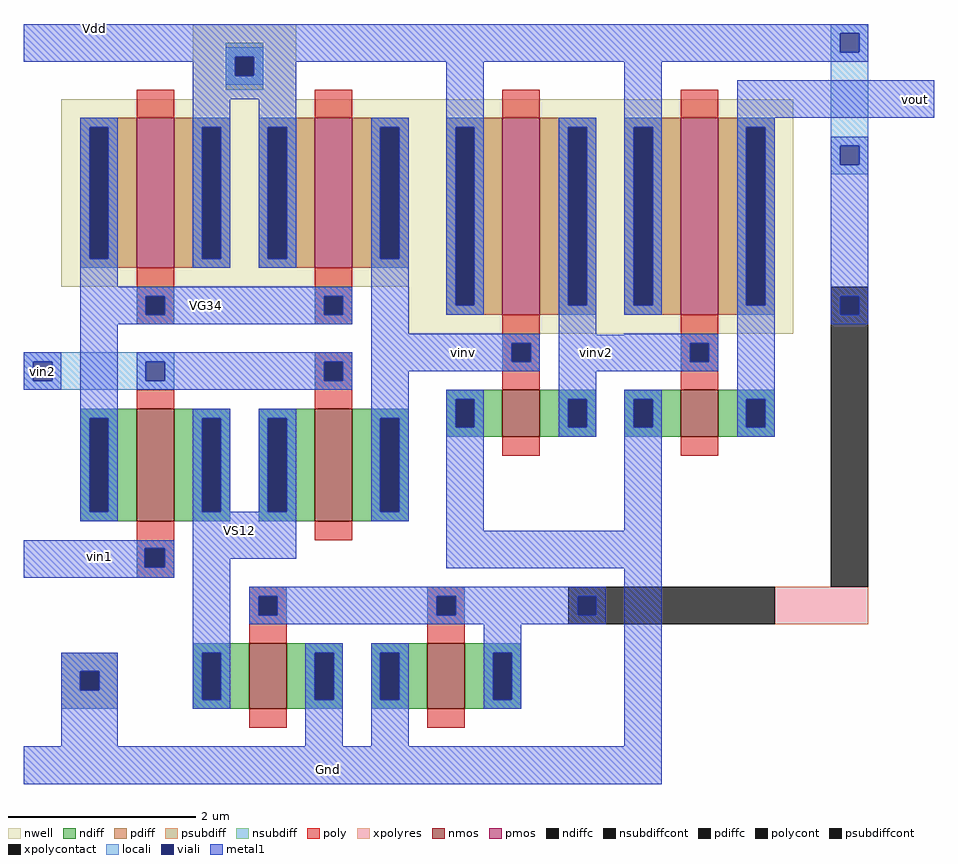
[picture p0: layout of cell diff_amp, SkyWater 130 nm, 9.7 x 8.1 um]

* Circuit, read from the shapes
.subckt diff_amp Gnd VG34 VS12 Vdd vin1 vin2 vinv vinv2 vout
XM1 VS12 vin1 VG34 Gnd sky130_fd_pr__nfet_01v8 w=1.2 l=0.4
XM2 Gnd n1 VS12 Gnd sky130_fd_pr__nfet_01v8 w=0.7 l=0.4
XM3 vinv vin2 VS12 Gnd sky130_fd_pr__nfet_01v8 w=1.2 l=0.4
XM4 n1 n1 Gnd Gnd sky130_fd_pr__nfet_01v8 w=0.7 l=0.4
XM5 vinv2 vinv Gnd Gnd sky130_fd_pr__nfet_01v8 w=0.5 l=0.4
XM6 vout vinv2 Gnd Gnd sky130_fd_pr__nfet_01v8 w=0.5 l=0.4
XM7 Vdd VG34 VG34 Vdd sky130_fd_pr__pfet_01v8 w=1.6 l=0.4
XM8 vinv VG34 Vdd Vdd sky130_fd_pr__pfet_01v8 w=1.6 l=0.4
XM9 vinv2 vinv Vdd Vdd sky130_fd_pr__pfet_01v8 w=2.1 l=0.4
XM10 vout vinv2 Vdd Vdd sky130_fd_pr__pfet_01v8 w=2.1 l=0.4
XR11 n1 Vdd Gnd sky130_fd_pr__res_xhigh_po w=0.4 l=1
.ends

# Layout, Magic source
magic
tech sky130A
<< nwell >>
rect 40 230 150 310
rect -100 30 680 230
rect 270 -20 680 30
<< nmos >>
rect -20 -220 20 -100
rect 170 -220 210 -100
rect 370 -130 410 -80
rect 560 -130 600 -80
rect 100 -420 140 -350
rect 290 -420 330 -350
<< pmos >>
rect -20 50 20 210
rect 170 50 210 210
rect 370 0 410 210
rect 560 0 600 210
<< ndiff >>
rect 310 -90 370 -80
rect -80 -110 -20 -100
rect -80 -210 -70 -110
rect -50 -210 -20 -110
rect -80 -220 -20 -210
rect 20 -110 80 -100
rect 20 -210 50 -110
rect 70 -210 80 -110
rect 20 -220 80 -210
rect 110 -110 170 -100
rect 110 -210 120 -110
rect 140 -210 170 -110
rect 110 -220 170 -210
rect 210 -110 270 -100
rect 210 -210 240 -110
rect 260 -210 270 -110
rect 310 -120 320 -90
rect 340 -120 370 -90
rect 310 -130 370 -120
rect 410 -90 470 -80
rect 410 -120 440 -90
rect 460 -120 470 -90
rect 410 -130 470 -120
rect 500 -90 560 -80
rect 500 -120 510 -90
rect 530 -120 560 -90
rect 500 -130 560 -120
rect 600 -90 660 -80
rect 600 -120 630 -90
rect 650 -120 660 -90
rect 600 -130 660 -120
rect 210 -220 270 -210
rect 40 -360 100 -350
rect 40 -410 50 -360
rect 70 -410 100 -360
rect 40 -420 100 -410
rect 140 -360 200 -350
rect 140 -410 170 -360
rect 190 -410 200 -360
rect 140 -420 200 -410
rect 230 -360 290 -350
rect 230 -410 240 -360
rect 260 -410 290 -360
rect 230 -420 290 -410
rect 330 -360 390 -350
rect 330 -410 360 -360
rect 380 -410 390 -360
rect 330 -420 390 -410
<< pdiff >>
rect -80 200 -20 210
rect -80 60 -70 200
rect -50 60 -20 200
rect -80 50 -20 60
rect 20 200 80 210
rect 20 60 50 200
rect 70 60 80 200
rect 20 50 80 60
rect 110 200 170 210
rect 110 60 120 200
rect 140 60 170 200
rect 110 50 170 60
rect 210 200 270 210
rect 210 60 240 200
rect 260 60 270 200
rect 210 50 270 60
rect 310 200 370 210
rect 310 10 320 200
rect 340 10 370 200
rect 310 0 370 10
rect 410 200 470 210
rect 410 10 440 200
rect 460 10 470 200
rect 410 0 470 10
rect 500 200 560 210
rect 500 10 510 200
rect 530 10 560 200
rect 500 0 560 10
rect 600 200 660 210
rect 600 10 630 200
rect 650 10 660 200
rect 600 0 660 10
<< ndiffc >>
rect -70 -210 -50 -110
rect 50 -210 70 -110
rect 120 -210 140 -110
rect 240 -210 260 -110
rect 320 -120 340 -90
rect 440 -120 460 -90
rect 510 -120 530 -90
rect 630 -120 650 -90
rect 50 -410 70 -360
rect 170 -410 190 -360
rect 240 -410 260 -360
rect 360 -410 380 -360
<< pdiffc >>
rect -70 60 -50 200
rect 50 60 70 200
rect 120 60 140 200
rect 240 60 260 200
rect 320 10 340 200
rect 440 10 460 200
rect 510 10 530 200
rect 630 10 650 200
<< psubdiff >>
rect -100 -380 -40 -360
rect -100 -400 -80 -380
rect -60 -400 -40 -380
rect -100 -420 -40 -400
<< nsubdiff >>
rect 75 275 115 290
rect 75 255 85 275
rect 105 255 115 275
rect 75 240 115 255
<< psubdiffcont >>
rect -80 -400 -60 -380
<< nsubdiffcont >>
rect 85 255 105 275
<< poly >>
rect -20 210 20 240
rect 170 210 210 240
rect 370 210 410 240
rect 560 210 600 240
rect -20 20 20 50
rect -20 0 -10 20
rect 10 0 20 20
rect -20 -10 20 0
rect 170 20 210 50
rect 170 0 180 20
rect 200 0 210 20
rect 170 -10 210 0
rect 370 -30 410 0
rect 170 -50 210 -40
rect 170 -70 180 -50
rect 200 -70 210 -50
rect -20 -100 20 -80
rect 170 -100 210 -70
rect 370 -50 380 -30
rect 400 -50 410 -30
rect 370 -80 410 -50
rect 560 -30 600 0
rect 560 -50 570 -30
rect 590 -50 600 -30
rect 560 -80 600 -50
rect 370 -150 410 -130
rect 560 -150 600 -130
rect -20 -249 20 -220
rect 170 -240 210 -220
rect -20 -269 -11 -249
rect 10 -269 20 -249
rect -20 -280 20 -269
rect 100 -300 140 -290
rect 100 -320 110 -300
rect 130 -320 140 -300
rect 100 -350 140 -320
rect 290 -300 330 -290
rect 290 -320 300 -300
rect 320 -320 330 -300
rect 290 -350 330 -320
rect 100 -440 140 -420
rect 290 -440 330 -420
<< polycont >>
rect -10 0 10 20
rect 180 0 200 20
rect 180 -70 200 -50
rect 380 -50 400 -30
rect 570 -50 590 -30
rect -11 -269 10 -249
rect 110 -320 130 -300
rect 300 -320 320 -300
<< xpolycontact >>
rect 720 -290 760 30
rect 440 -330 660 -290
<< xpolyres >>
rect 660 -330 760 -290
<< locali >>
rect 720 300 760 310
rect 75 275 115 285
rect 75 255 85 275
rect 105 255 115 275
rect 75 245 115 255
rect 720 280 730 300
rect 750 280 760 300
rect -80 200 -40 210
rect -80 60 -70 200
rect -50 60 -40 200
rect -80 50 -40 60
rect 40 200 80 210
rect 40 60 50 200
rect 70 60 80 200
rect 40 50 80 60
rect 110 200 150 210
rect 110 60 120 200
rect 140 60 150 200
rect 110 50 150 60
rect 230 200 270 210
rect 230 60 240 200
rect 260 60 270 200
rect 230 50 270 60
rect 310 200 350 210
rect -20 20 20 30
rect -20 0 -10 20
rect 10 0 20 20
rect -20 -10 20 0
rect 170 20 210 30
rect 170 0 180 20
rect 200 0 210 20
rect 310 10 320 200
rect 340 10 350 200
rect 310 0 350 10
rect 430 200 470 210
rect 430 10 440 200
rect 460 10 470 200
rect 430 0 470 10
rect 500 200 540 210
rect 500 10 510 200
rect 530 10 540 200
rect 500 0 540 10
rect 620 200 660 210
rect 620 10 630 200
rect 650 10 660 200
rect 720 180 760 280
rect 720 160 730 180
rect 750 160 760 180
rect 720 150 760 160
rect 620 0 660 10
rect 170 -10 210 0
rect 370 -30 410 -20
rect -140 -50 20 -40
rect -140 -70 -130 -50
rect -110 -70 -10 -50
rect 10 -70 20 -50
rect -140 -80 20 -70
rect 170 -50 210 -40
rect 170 -70 180 -50
rect 200 -70 210 -50
rect 370 -50 380 -30
rect 400 -50 410 -30
rect 370 -60 410 -50
rect 560 -30 600 -20
rect 560 -50 570 -30
rect 590 -50 600 -30
rect 560 -60 600 -50
rect 170 -80 210 -70
rect 310 -90 350 -80
rect -80 -110 -40 -100
rect -80 -210 -70 -110
rect -50 -210 -40 -110
rect -80 -220 -40 -210
rect 40 -110 80 -100
rect 40 -210 50 -110
rect 70 -210 80 -110
rect 40 -220 80 -210
rect 110 -110 150 -100
rect 110 -210 120 -110
rect 140 -210 150 -110
rect 110 -220 150 -210
rect 230 -110 270 -100
rect 230 -210 240 -110
rect 260 -210 270 -110
rect 310 -120 320 -90
rect 340 -120 350 -90
rect 310 -130 350 -120
rect 430 -90 470 -80
rect 430 -120 440 -90
rect 460 -120 470 -90
rect 430 -130 470 -120
rect 500 -90 540 -80
rect 500 -120 510 -90
rect 530 -120 540 -90
rect 500 -130 540 -120
rect 620 -90 660 -80
rect 620 -120 630 -90
rect 650 -120 660 -90
rect 620 -130 660 -120
rect 230 -220 270 -210
rect -20 -249 20 -240
rect -20 -269 -11 -249
rect 10 -269 20 -249
rect -20 -280 20 -269
rect 100 -300 140 -290
rect 100 -320 110 -300
rect 130 -320 140 -300
rect 100 -330 140 -320
rect 290 -300 330 -290
rect 290 -320 300 -300
rect 320 -320 330 -300
rect 290 -330 330 -320
rect 40 -360 80 -350
rect -100 -380 -40 -360
rect -100 -400 -80 -380
rect -60 -400 -40 -380
rect -100 -420 -40 -400
rect 40 -410 50 -360
rect 70 -410 80 -360
rect 40 -420 80 -410
rect 160 -360 200 -350
rect 160 -410 170 -360
rect 190 -410 200 -360
rect 160 -420 200 -410
rect 230 -360 270 -350
rect 230 -410 240 -360
rect 260 -410 270 -360
rect 230 -420 270 -410
rect 350 -360 390 -350
rect 350 -410 360 -360
rect 380 -410 390 -360
rect 350 -420 390 -410
<< viali >>
rect 85 255 105 275
rect 730 280 750 300
rect -70 60 -50 200
rect 50 60 70 200
rect 120 60 140 200
rect 240 60 260 200
rect -10 0 10 20
rect 180 0 200 20
rect 320 10 340 200
rect 440 10 460 200
rect 510 10 530 200
rect 630 10 650 200
rect 730 160 750 180
rect 730 0 750 20
rect -130 -70 -110 -50
rect -10 -70 10 -50
rect 180 -70 200 -50
rect 380 -50 400 -30
rect 570 -50 590 -30
rect -70 -210 -50 -110
rect 50 -210 70 -110
rect 120 -210 140 -110
rect 240 -210 260 -110
rect 320 -120 340 -90
rect 440 -120 460 -90
rect 510 -120 530 -90
rect 630 -120 650 -90
rect -11 -269 10 -249
rect 110 -320 130 -300
rect 300 -320 320 -300
rect 450 -320 470 -300
rect -80 -400 -60 -380
rect 50 -410 70 -360
rect 170 -410 190 -360
rect 240 -410 260 -360
rect 360 -410 380 -360
<< metal1 >>
rect -140 300 760 310
rect -140 280 730 300
rect 750 280 760 300
rect -140 275 760 280
rect -140 270 85 275
rect 40 255 85 270
rect 105 270 760 275
rect 105 255 150 270
rect 40 230 150 255
rect -80 200 -40 210
rect -80 60 -70 200
rect -50 60 -40 200
rect -80 30 -40 60
rect 40 200 80 230
rect 40 60 50 200
rect 70 60 80 200
rect 40 50 80 60
rect 110 200 150 230
rect 110 60 120 200
rect 140 60 150 200
rect 110 50 150 60
rect 230 200 270 210
rect 230 60 240 200
rect 260 60 270 200
rect -80 20 210 30
rect -80 0 -10 20
rect 10 0 180 20
rect 200 0 210 20
rect -80 -10 210 0
rect -140 -50 -100 -40
rect -140 -70 -130 -50
rect -110 -70 -100 -50
rect -140 -80 -100 -70
rect -80 -110 -40 -10
rect 230 -20 270 60
rect 310 200 350 270
rect 310 10 320 200
rect 340 10 350 200
rect 310 0 350 10
rect 430 200 470 210
rect 430 10 440 200
rect 460 10 470 200
rect 230 -30 410 -20
rect -20 -50 210 -40
rect -20 -70 -10 -50
rect 10 -70 180 -50
rect 200 -70 210 -50
rect -20 -80 210 -70
rect 230 -50 380 -30
rect 400 -50 410 -30
rect 230 -60 410 -50
rect 430 -21 470 10
rect 500 200 540 270
rect 500 10 510 200
rect 530 10 540 200
rect 500 0 540 10
rect 620 210 830 250
rect 620 200 660 210
rect 620 10 630 200
rect 650 10 660 200
rect 500 -21 600 -20
rect 430 -30 600 -21
rect 430 -50 570 -30
rect 590 -50 600 -30
rect 430 -60 600 -50
rect -80 -210 -70 -110
rect -50 -210 -40 -110
rect -80 -220 -40 -210
rect 40 -110 80 -100
rect 40 -210 50 -110
rect 70 -210 80 -110
rect 110 -110 150 -100
rect 110 -210 120 -110
rect 140 -210 150 -110
rect -140 -249 20 -240
rect -140 -269 -11 -249
rect 10 -269 20 -249
rect -140 -280 20 -269
rect 40 -260 150 -210
rect 230 -110 270 -60
rect 230 -210 240 -110
rect 260 -210 270 -110
rect 230 -220 270 -210
rect 310 -90 350 -80
rect 310 -120 320 -90
rect 340 -120 350 -90
rect 310 -230 350 -120
rect 430 -90 470 -60
rect 430 -120 440 -90
rect 460 -120 470 -90
rect 430 -130 470 -120
rect 500 -90 540 -80
rect 500 -120 510 -90
rect 530 -120 540 -90
rect 500 -230 540 -120
rect 620 -90 660 10
rect 720 180 760 190
rect 720 160 730 180
rect 750 160 760 180
rect 720 20 760 160
rect 720 0 730 20
rect 750 0 760 20
rect 720 -10 760 0
rect 620 -120 630 -90
rect 650 -120 660 -90
rect 620 -130 660 -120
rect 40 -360 80 -260
rect 310 -270 540 -230
rect 100 -300 480 -290
rect 100 -320 110 -300
rect 130 -320 300 -300
rect 320 -320 450 -300
rect 470 -320 480 -300
rect 100 -330 480 -320
rect -100 -380 -40 -360
rect -100 -400 -80 -380
rect -60 -400 -40 -380
rect -100 -460 -40 -400
rect 40 -410 50 -360
rect 70 -410 80 -360
rect 40 -420 80 -410
rect 160 -360 200 -350
rect 160 -410 170 -360
rect 190 -410 200 -360
rect 160 -460 200 -410
rect 230 -360 270 -350
rect 230 -410 240 -360
rect 260 -410 270 -360
rect 230 -460 270 -410
rect 350 -360 390 -330
rect 350 -410 360 -360
rect 380 -410 390 -360
rect 350 -420 390 -410
rect 500 -460 540 -270
rect -140 -500 540 -460
<< labels >>
rlabel metal1 -65 305 -64 306 1 Vdd
rlabel metal1 322 -45 334 -35 1 vinv
rlabel metal1 460 -50 480 -30 1 vinv2
rlabel metal1 90 -230 90 -230 1 VS12
rlabel metal1 -61 -261 -57 -255 1 vin1
rlabel metal1 55 10 55 10 1 VG34
rlabel viali -120 -60 -120 -60 1 vin2
rlabel metal1 170 -490 200 -480 1 Gnd
rlabel metal1 800 220 820 240 1 vout
<< end >>
